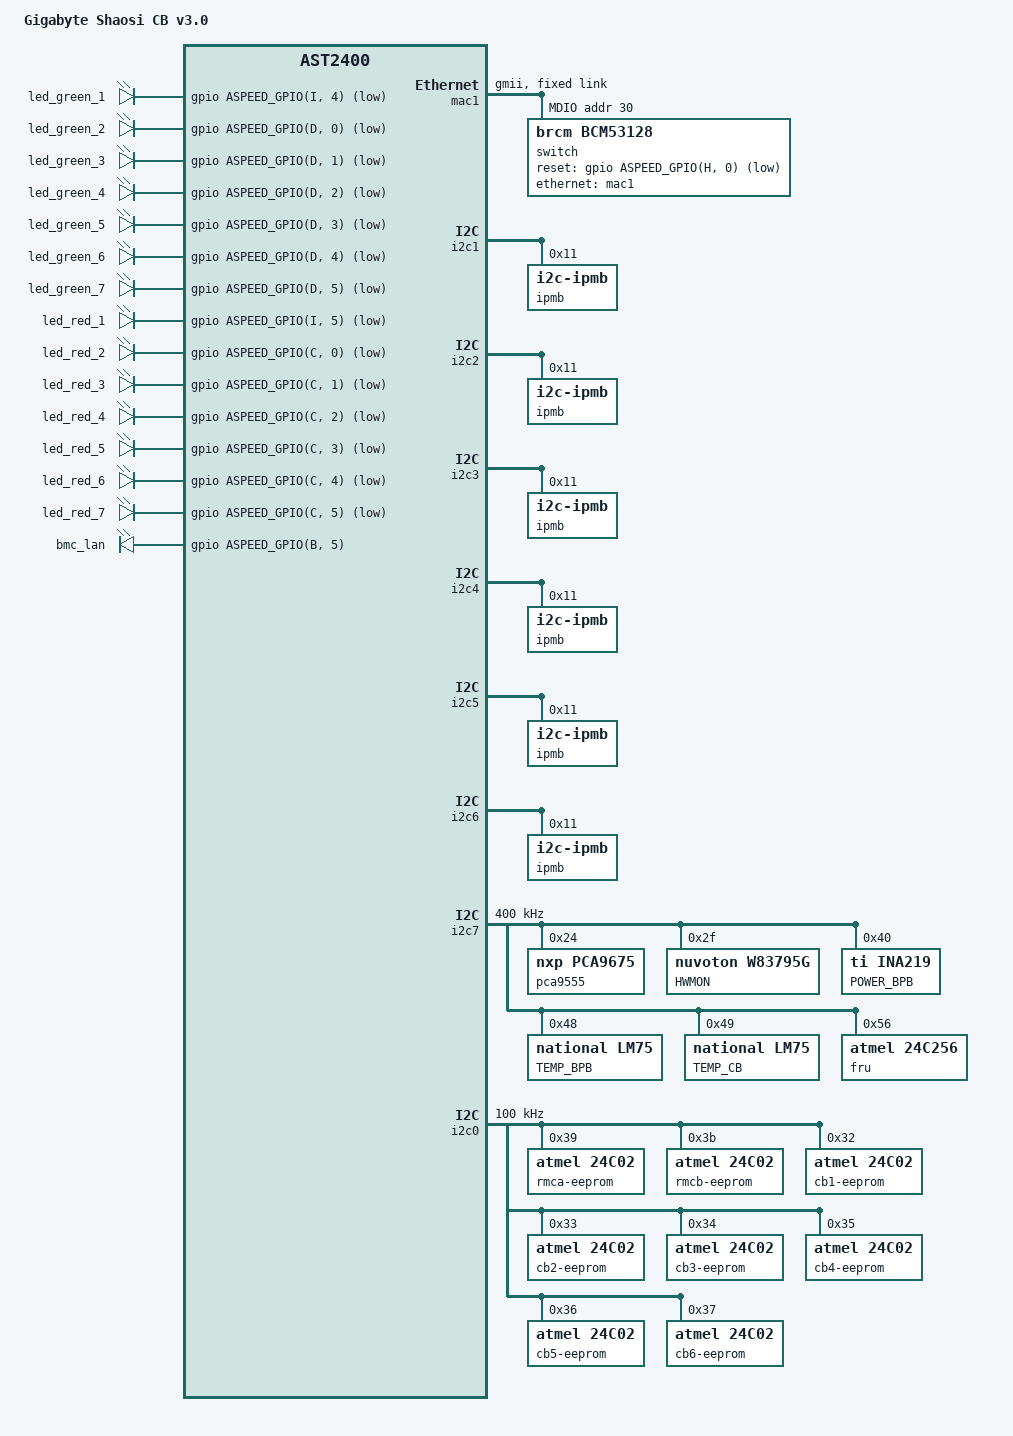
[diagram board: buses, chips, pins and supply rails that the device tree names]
/dts-v1/;
/plugin/;

#include <dt-bindings/gpio/gpio.h>
#include <dt-bindings/gpio/aspeed-gpio.h>

/ {
	compatible = "aspeed,ast2400";

	fragment@0 {
		target-path = "/";
		__overlay__ {
			model = "Gigabyte Shaosi CB v3.0";
		};
	};

	fragment@1 {
		target = <&leds>;
		__overlay__ {
			bmc_lan {
				label = "bmc_lan";
				gpios = <&gpio ASPEED_GPIO(B, 5) GPIO_ACTIVE_HIGH>;
				linux,default-trigger = "netdev";
			};
		};
	};

	fragment@2 {
		target = <&mac1>;
		#address-cells = <1>;
		#size-cells = <0>;
		__overlay__ {
			#address-cells = <1>;
			#size-cells = <0>;
			compatible = "faraday,ftgmac100", "aspeed,ast2400-mac";
			reg = <0x1e680000 0x180>;
			interrupts = <3>;
			status = "okay";
			no-hw-checksum;

			pinctrl-names = "default";
			pinctrl-0 = <&pinctrl_rgmii2_default &pinctrl_mdio2_default>;

			phy-mode = "gmii";

			fixed-link {
				speed = <1000>;
				max-speed = <1000>;
				full-duplex;
			};

			mdio {
				#address-cells = <1>;
				#size-cells = <0>;

				switch: ethernet-switch@1e {
					#address-cells = <1>;
					#size-cells = <0>;
					compatible = "brcm,bcm53128";
					reset-gpios = <&gpio ASPEED_GPIO(H, 0) GPIO_ACTIVE_LOW>;
					reg = <0x1e>;

					ports {
						port0@0 {
							reg = <0>;
							label = "lan1";
						};

						port1@1 {
							reg = <1>;
							label = "lan2";
						};

						port2@2 {
							reg = <2>;
							label = "lan3";
						};

						port3@3 {
							reg = <3>;
							label = "lan4";
						};

						port4@4 {
							reg = <4>;
							label = "lan5";
						};

						port5@5 {
							reg = <5>;
							label = "lan6";
						};

						port6@6 {
							reg = <6>;
							label = "uplink";
						};

						port8@8 {
							reg = <8>;
							label = "cpu";
							phy-mode = "gmii";
							ethernet = <&mac1>;
							fixed-link {
								speed = <1000>;
								max-speed = <1000>;
								full-duplex;
							};
						};
					};
				};
			};
		};
	};

	fragment@3 {
		target = <&i2c1>;
		__overlay__ {
			status = "okay";

			ipmb {
				compatible = "i2c-ipmb";
				reg = <0x11>;
				slave-addr = <0x36>;
			};
		};
	};

	fragment@4 {
		target = <&i2c2>;
		__overlay__ {
			status = "okay";
			ipmb {
				compatible = "i2c-ipmb";
				reg = <0x11>;
				slave-addr = <0x36>;
			};
		};
	};

	fragment@5 {
		target = <&i2c3>;
		__overlay__ {
			status = "okay";
			ipmb {
				compatible = "i2c-ipmb";
				reg = <0x11>;
				slave-addr = <0x36>;
			};
		};
	};

	fragment@6 {
		target = <&i2c4>;
		__overlay__ {
			status = "okay";
			ipmb {
				compatible = "i2c-ipmb";
				reg = <0x11>;
				slave-addr = <0x36>;
			};
		};
	};

	fragment@7 {
		target = <&i2c5>;
		__overlay__ {
			status = "okay";
			ipmb {
				compatible = "i2c-ipmb";
				reg = <0x11>;
				slave-addr = <0x36>;
			};
		};
	};

	fragment@8 {
		target = <&i2c6>;
		__overlay__ {
			status = "okay";
			ipmb {
				compatible = "i2c-ipmb";
				reg = <0x11>;
				slave-addr = <0x36>;
			};
		};
	};

	fragment@9 {
		target = <&i2c7>;
		__overlay__ {
			status = "okay";
			clock-frequency = <400000>;
					pca9555: gpio-expander@24 {
						compatible = "nxp,pca9675";
						gpio-controller;
						#gpio-cells = <2>;
						reg = <0x24>;
					};
					sensors {
						label = "HWMON";
						compatible = "nuvoton,w83795g";
						reg = <0x2f>;
					};
					power {
						label = "POWER_BPB";
						compatible = "ti,ina219";
						reg = <0x40>;
						shunt-resistor = <500>;
					};
					tmp@48 {
						label = "TEMP_BPB";
						compatible = "national,lm75";
						reg = <0x48>;
					};
					tmp@49 {
						label = "TEMP_CB";
						compatible = "national,lm75";
						reg = <0x49>;
					};
					fru {
						compatible = "atmel,24c256";
						reg = <0x56>;
					};
		};
	};

	fragment@10 {
		target = <&i2c0>;
		__overlay__ {
			/* Common i2c */
			status = "okay";
			clock-frequency = <100000>;
		};
	};

	fragment@11 {
		target-path = "/";
		__overlay__ {
			ledsCB {
				compatible = "gpio-leds";
				led_green_1 { label = "led_green_1"; gpios = <&gpio ASPEED_GPIO(I, 4) GPIO_ACTIVE_LOW>; };
				led_green_2 { label = "led_green_2"; gpios = <&gpio ASPEED_GPIO(D, 0) GPIO_ACTIVE_LOW>; };
				led_green_3 { label = "led_green_3"; gpios = <&gpio ASPEED_GPIO(D, 1) GPIO_ACTIVE_LOW>; };
				led_green_4 { label = "led_green_4"; gpios = <&gpio ASPEED_GPIO(D, 2) GPIO_ACTIVE_LOW>; };
				led_green_5 { label = "led_green_5"; gpios = <&gpio ASPEED_GPIO(D, 3) GPIO_ACTIVE_LOW>; };
				led_green_6 { label = "led_green_6"; gpios = <&gpio ASPEED_GPIO(D, 4) GPIO_ACTIVE_LOW>; };
				led_green_7 { label = "led_green_7"; gpios = <&gpio ASPEED_GPIO(D, 5) GPIO_ACTIVE_LOW>; };
				led_red_1 { label = "led_red_1"; gpios = <&gpio ASPEED_GPIO(I, 5) GPIO_ACTIVE_LOW>; };
				led_red_2 { label = "led_red_2"; gpios = <&gpio ASPEED_GPIO(C, 0) GPIO_ACTIVE_LOW>; };
				led_red_3 { label = "led_red_3"; gpios = <&gpio ASPEED_GPIO(C, 1) GPIO_ACTIVE_LOW>; };
				led_red_4 { label = "led_red_4"; gpios = <&gpio ASPEED_GPIO(C, 2) GPIO_ACTIVE_LOW>; };
				led_red_5 { label = "led_red_5"; gpios = <&gpio ASPEED_GPIO(C, 3) GPIO_ACTIVE_LOW>; };
				led_red_6 { label = "led_red_6"; gpios = <&gpio ASPEED_GPIO(C, 4) GPIO_ACTIVE_LOW>; };
				led_red_7 { label = "led_red_7"; gpios = <&gpio ASPEED_GPIO(C, 5) GPIO_ACTIVE_LOW>; };
			};
		};
	};

	fragment@12 {
		target = <&i2c0>;
		__overlay__ {
			/* RMC-A virtual eeprom */
			status = "okay";
			rmca-eeprom {
				compatible = "atmel,24c02";
				reg = <0x39>;
			};
			rmcb-eeprom {
				compatible = "atmel,24c02";
				reg = <0x3b>;
			};
			cb1-eeprom {
				compatible = "atmel,24c02";
				reg = <0x32>;
			};
			cb2-eeprom {
				compatible = "atmel,24c02";
				reg = <0x33>;
			};
			cb3-eeprom {
				compatible = "atmel,24c02";
				reg = <0x34>;
			};
			cb4-eeprom {
				compatible = "atmel,24c02";
				reg = <0x35>;
			};
			cb5-eeprom {
				compatible = "atmel,24c02";
				reg = <0x36>;
			};
			cb6-eeprom {
				compatible = "atmel,24c02";
				reg = <0x37>;
			};
		};
	};
};
